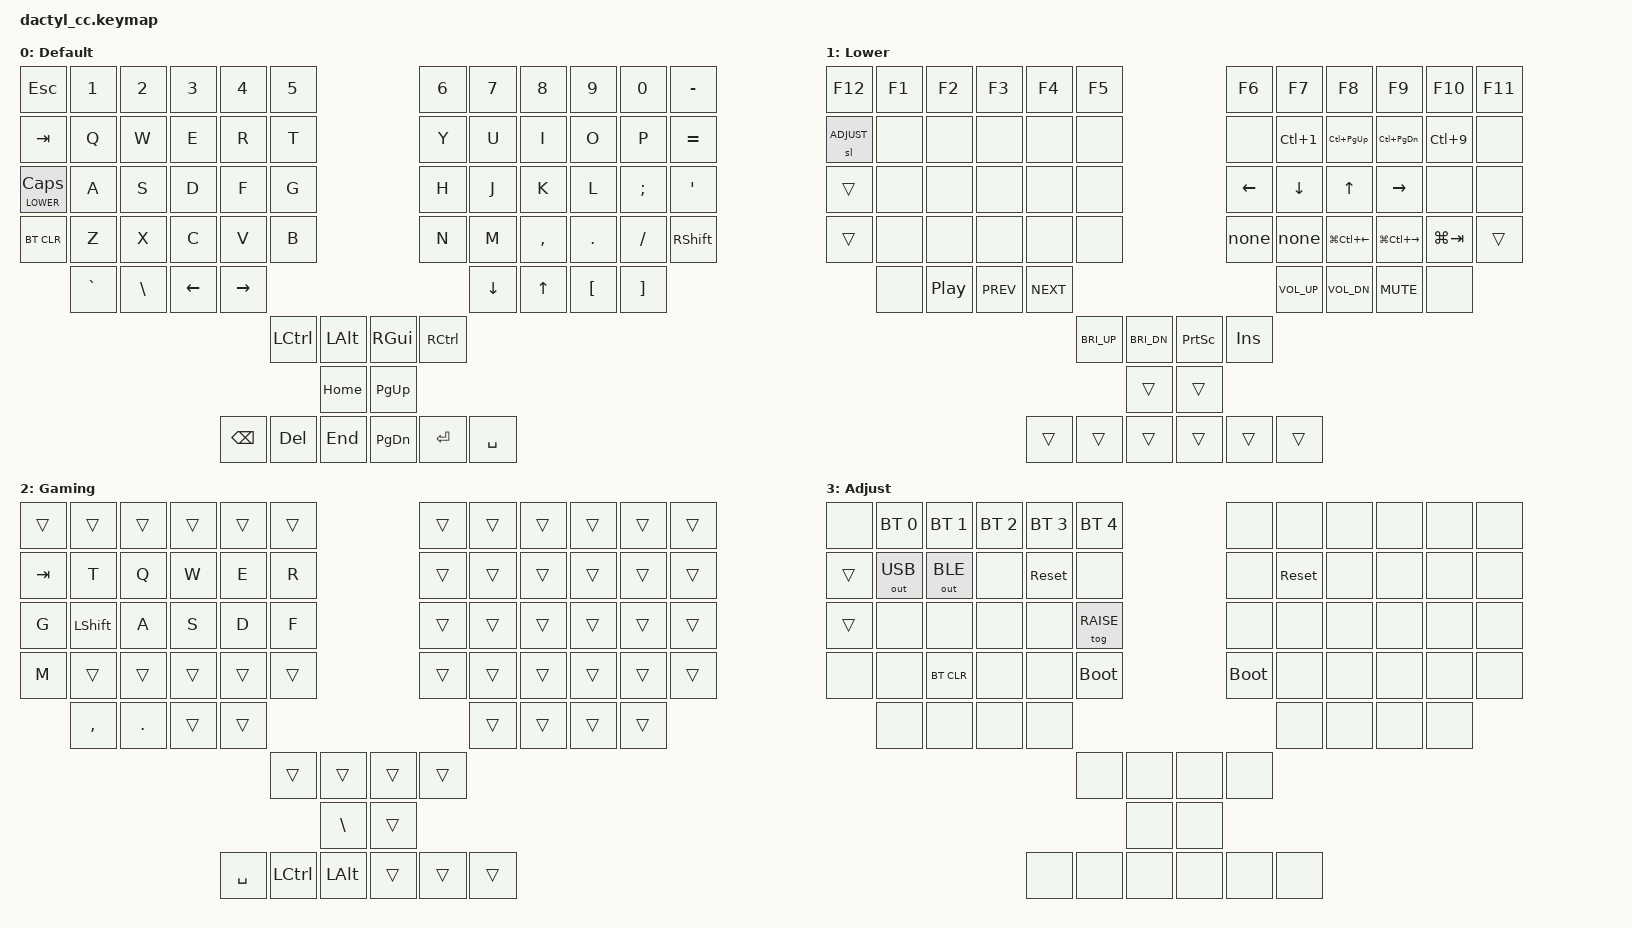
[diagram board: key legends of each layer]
#include <behaviors.dtsi>
#include <dt-bindings/zmk/keys.h>
#include <dt-bindings/zmk/bt.h>
#include <dt-bindings/zmk/outputs.h>

#define DEFAULT 0
#define LOWER   1
#define RAISE   2
#define ADJUST  3

#define HYPER(key) LS(LC(LA(LG(key))))
#define MEH(key)   LS(LC(LA(key)))

&sl {
    release-after-ms = <5000>;
};


&kscan0 {
    debounce-press-ms = <30>;
    debounce-release-ms = <30>;
};

/ {
    keymap {
        compatible = "zmk,keymap";

        // Default layer. Modeled after the original Kinesis layout with a few tweaks.
        // Equals above tab = ESC
        // Backslash below minus = Equals
        // Swapped up and down arrows
        default_layer {
            display-name = "Default";
            bindings = <
    &kp ESC        &kp N1    &kp N2   &kp N3    &kp N4    &kp N5                          &kp N6    &kp N7    &kp N8    &kp N9    &kp N0   &kp MINUS
    &kp TAB        &kp Q     &kp W    &kp E     &kp R     &kp T                           &kp Y     &kp U     &kp I     &kp O     &kp P    &kp EQUAL
    &lt LOWER CAPS &kp A     &kp S    &kp D     &kp F     &kp G                           &kp H     &kp J     &kp K     &kp L     &kp SEMI &kp SQT
    &bt BT_CLR      &kp Z     &kp X    &kp C     &kp V     &kp B                           &kp N     &kp M     &kp COMMA &kp DOT   &kp FSLH &kp RSHFT
                   &kp GRAVE &kp BSLH &kp LEFT  &kp RIGHT                                           &kp DOWN  &kp UP    &kp LBKT  &kp RBKT
                                                          &kp LCTRL &kp LALT    &kp RGUI  &kp RCTRL
                                                                    &kp HOME    &kp PG_UP
                                                &kp BSPC  &kp DEL   &kp END     &kp PG_DN &kp RET   &kp SPACE
            >;
        };

        // Lower layer.
        // - Turns number row into function keys.
        // - Media keys to the bottom row.
        // - vim style arrow keys.
        // - Tab navigation above the vim keys.
        // - Desktop navigation below the vim keys.
        // Momentarily toggled with LOWER (Caps Lock).
        lower_layer {
            display-name = "Lower";
            bindings = <
    &kp F12    &kp F1    &kp F2   &kp F3     &kp F4    &kp F5                              &kp F6        &kp F7       &kp F8           &kp F9            &kp F10     &kp F11
    &sl ADJUST &none     &none    &none      &none     &none                               &none         &kp LC(1)    &kp LC(PG_UP)    &kp LC(PG_DN)     &kp LC(9)   &none
    &trans     &none     &none    &none      &none     &none                               &kp LEFT      &kp DOWN     &kp UP           &kp RIGHT         &none       &none
    &trans     &none     &none    &none      &none     &none                               &kp none      &kp none     &kp LG(LC(LEFT)) &kp LG(LC(RIGHT)) &kp LG(TAB) &trans
               &none     &kp C_PP &kp C_PREV &kp C_NEXT                                                  &kp C_VOL_UP &kp C_VOL_DN     &kp C_MUTE        &none
                                                       &kp C_BRI_UP &kp C_BRI_DN &kp PSCRN &kp INS
                                                                    &trans       &trans
                                                &trans &trans       &trans       &trans    &trans    &trans
            >;       };

        // Gaming overlay. Shifts the columns to the right by one putting wasd where your fingers naturally rest.
        // Also remaps some keys to the left hand for convenience.
        // Toggled with LOWER (Caps) + ADJUST (Tab) -> RAISE (G)
        raise_layer {
            display-name = "Gaming";
            bindings = <
    &trans    &trans    &trans   &trans    &trans    &trans                          &trans    &trans    &trans    &trans    &trans    &trans
    &kp TAB   &kp T     &kp Q    &kp W     &kp E     &kp R                           &trans    &trans    &trans    &trans    &trans    &trans
    &kp G     &kp LSHFT &kp A    &kp S     &kp D     &kp F                           &trans    &trans    &trans    &trans    &trans    &trans
    &kp M     &trans    &trans   &trans    &trans    &trans                          &trans    &trans    &trans    &trans    &trans    &trans
              &kp COMMA &kp DOT  &trans    &trans                                              &trans    &trans    &trans    &trans
                                                     &trans    &trans      &trans    &trans
                                                               &kp BSLH    &trans
                                           &kp SPACE &kp LCTRL &kp LALT    &trans    &trans    &trans
            >;
        };

        // Adjust layer. Contains system controls and overlay toggles.
        // Toggled with LOWER (Caps) + ADJUST (Tab)
        adjust_layer {
            display-name = "Adjust";
            bindings = <
    &none     &bt BT_SEL 0 &bt BT_SEL 1 &bt BT_SEL 2 &bt BT_SEL 3 &bt BT_SEL 4                      &none       &none      &none     &none     &none    &none
    &trans    &out OUT_USB &out OUT_BLE &none        &sys_reset   &none                             &none       &sys_reset &none     &none     &none    &none
    &trans    &none        &none        &none        &none        &tog RAISE                        &none       &none      &none     &none     &none    &none
    &none     &none        &bt BT_CLR   &none        &none        &bootloader                       &bootloader &none      &none     &none     &none    &none
              &none        &none        &none        &none                                                         &none      &none     &none     &none
                                                                  &none       &none       &none     &none
                                                                              &none       &none
                                                         &none    &none       &none       &none     &none     &none
            >;
        };
    };
};
